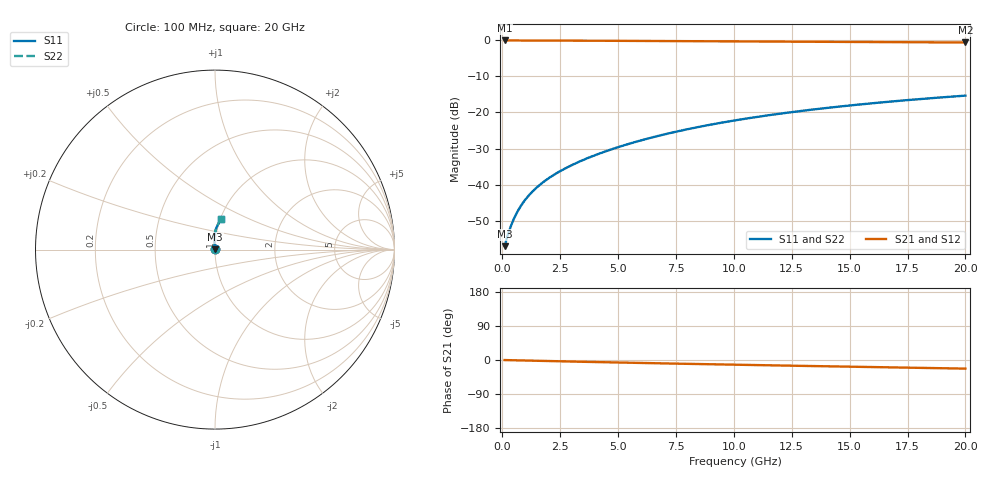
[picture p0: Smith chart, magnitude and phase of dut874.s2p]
! Touchstone file exported from HFSS 2024.1.0
!  File:  C:/UserFiles/LocalFiles/RDL_TSV_Batchsim/temp_RDL_bottom_874_1779865170.aedt
!  Generated:  03:01:48 PM May 27, 2026
!  Design:  RDL_bottom
!  Project:  temp_RDL_bottom_874_1779865170
!  Setup:  Setup1
!  Solution:  Sweep
! Variables:
!  dtsv = 10.80580581um
!  hbump = 3um
!  htsv = 90.7um
!  ldown = 354.86um
!  lrdl = 100um
!  p = 40
!  p1 = 44.14um
!  rhole = 1um
!  t = 450um
!  tdown = 4.76um
!  trdl = 3.915915916um
!  wdown = 27.11um
!  wrdl = 20um
# GHz S MA R 50.000000
! Terminal data exported
! Port[1] = RDL1_T1
! Port[2] = RDL1_T2
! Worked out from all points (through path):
!   200 points, 100 MHz to 20 GHz, reference 50 ohm
!   highest |S21| = -0.01 dB at 100 MHz (marker M1); lowest = -0.6 dB at 20 GHz (marker M2)
!   group delay of S21, straight-line fit = 3.11 ps
!   lowest |S11| = -57.1 dB at 100 MHz (marker M3), VSWR 1.00, Z = 50.1 + j0.0749 ohm
!   |S11| at or under -10 dB: start of sweep to end of sweep
!   |S22| runs from -57.1 to -15.3 dB; largest |S21 - S12| = 2.7e-15
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0.1  0.001398 32.3  0.9988 -0.1  0.9988 -0.1  0.001398 32.3
! Gamma 0 0 0 0
! Port Impedance 50 0 50 0
0.2  0.00183 46.4  0.9987 -0.3  0.9987 -0.3  0.001829 46.4
0.3  0.002296 56.0  0.9985 -0.4  0.9985 -0.4  0.002295 56.1
0.4  0.002805 62.7  0.9984 -0.6  0.9984 -0.6  0.002804 62.8
0.6  0.003898 71.0  0.9982 -0.8  0.9982 -0.8  0.003898 71.1
0.7  0.004465 73.7  0.9981 -1.0  0.9981 -1.0  0.004465 73.8
0.9  0.005623 77.6  0.9979 -1.3  0.9979 -1.3  0.005623 77.6
1.2  0.007391 81.4  0.9975 -1.7  0.9975 -1.7  0.007392 81.4
1.6  0.009789 84.5  0.9969 -2.2  0.9969 -2.2  0.009789 84.5
2.1  0.01285 87.3  0.9959 -2.9  0.9959 -2.9  0.01285 87.2
2.7  0.01665 89.6  0.9944 -3.7  0.9944 -3.7  0.01665 89.6
3.5  0.02199 91.9  0.992 -4.7  0.992 -4.7  0.02199 91.9
4.2  0.02698 93.2  0.9896 -5.6  0.9896 -5.6  0.02697 93.2
5  0.03304 94.2  0.9867 -6.6  0.9867 -6.6  0.03303 94.2
5.9  0.04029 94.7  0.9832 -7.7  0.9832 -7.7  0.04028 94.7
6.8  0.04793 94.7  0.9797 -8.8  0.9797 -8.8  0.04793 94.7
8.4  0.06229 93.9  0.9735 -10.6  0.9735 -10.6  0.06227 93.8
10.1  0.07821 92.2  0.9672 -12.5  0.9672 -12.5  0.07819 92.2
11.7  0.0935 90.2  0.9616 -14.2  0.9616 -14.2  0.09348 90.2
13.4  0.1098 87.9  0.9559 -16.0  0.9559 -16.0  0.1098 87.9
16.7  0.1411 83.3  0.9457 -19.4  0.9457 -19.4  0.1411 83.3
20  0.1714 78.8  0.936 -22.7  0.936 -22.7  0.1714 78.8
